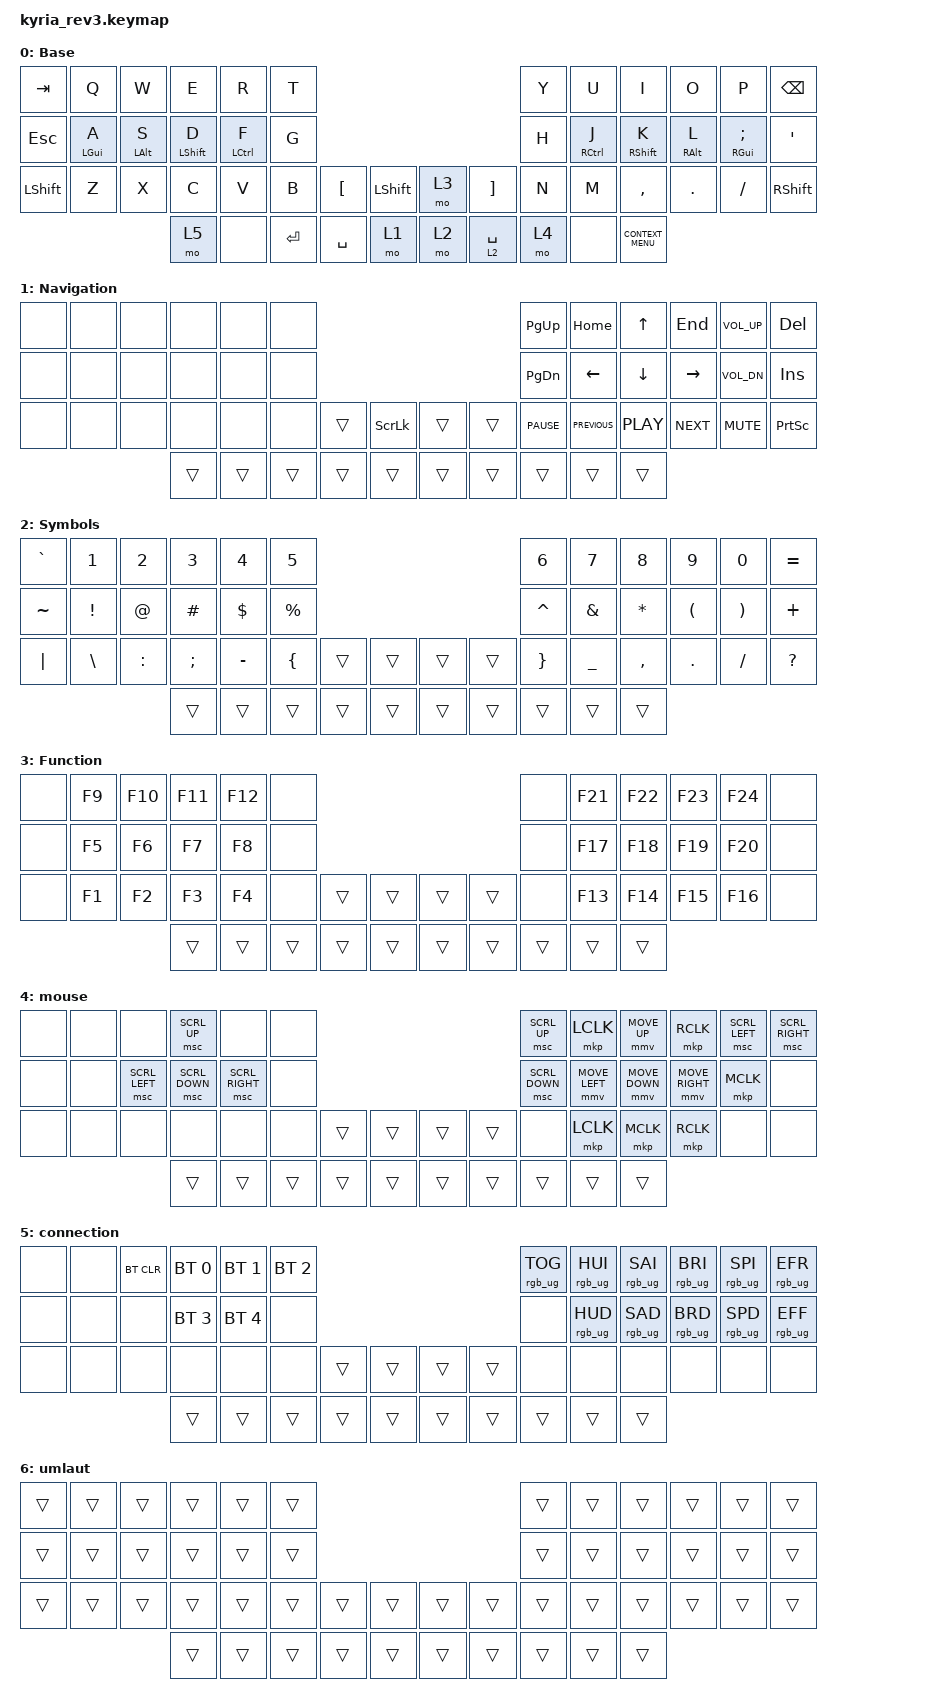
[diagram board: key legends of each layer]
/*
 * Copyright (c) 2023 The ZMK Contributors
 *
 * SPDX-License-Identifier: MIT
 */

#include <behaviors.dtsi>
#include <dt-bindings/zmk/bt.h>
#include <dt-bindings/zmk/keys.h>
#include <dt-bindings/zmk/pointing.h>
#include <dt-bindings/zmk/rgb.h>

/* Uncomment this block if using RGB
&led_strip {
    chain-length = <6>;
    // chain-length = <31>; // Uncomment if using both per-key and underglow LEDs
    // chain-length = <25>; // Uncomment if using only per-key LEDs.
};
 */

/ {
    keymap {
        compatible = "zmk,keymap";

        Base {
            // ---------------------------------------------------------------------------------------------------------------------------------
            // |  ESC  |  Q  |  W  |  E   |  R   |  T   |                                          |  Y   |  U    |  I    |  O   |   P   |   \  |
            // |  TAB  |  A  |  S  |  D   |  F   |  G   |                                          |  H   |  J    |  K    |  L   |   ;   |   '  |
            // | SHIFT |  Z  |  X  |  C   |  V   |  B   | L SHIFT | L SHIFT |  | LAYER 1 | L SHIFT |  N   |  M    |  ,    |  .   |   /   | CTRL |
            //                     | GUI  | DEL  | RET  |  SPACE  |   ESC   |  |   RET   |  SPACE  | TAB  | BSPC  | R-ALT |

            bindings = <
&kp TAB    &kp Q           &kp W           &kp E             &kp R               &kp T                                                           &kp Y  &kp U                &kp I               &kp O            &kp P                    &kp BACKSPACE
&kp ESC    &mt LEFT_GUI A  &mt LEFT_ALT S  &mt LEFT_SHIFT D  &mt LEFT_CONTROL F  &kp G                                                           &kp H  &mt RIGHT_CONTROL J  &mt RIGHT_SHIFT K   &mt RIGHT_ALT L  &mt RIGHT_GUI SEMICOLON  &kp SINGLE_QUOTE
&kp LSHFT  &kp Z           &kp X           &kp C             &kp V               &kp B    &kp LEFT_BRACKET  &kp LSHFT  &mo 3  &kp RIGHT_BRACKET  &kp N  &kp M                &kp COMMA           &kp DOT          &kp FSLH                 &kp RIGHT_SHIFT
                                           &mo 5             &none               &kp RET  &kp SPACE         &mo 1      &mo 2  &lt 2 SPACE        &mo 4  &none                &kp K_CONTEXT_MENU
            >;
        };

        Navigation {
            bindings = <
&none  &none  &none  &none   &none   &none                                           &kp PAGE_UP    &kp HOME        &kp UP_ARROW  &kp END     &kp C_VOLUME_UP  &kp DELETE
&none  &none  &none  &none   &none   &none                                           &kp PAGE_DOWN  &kp LEFT        &kp DOWN      &kp RIGHT   &kp C_VOL_DN     &kp INSERT
&none  &none  &none  &none   &none   &none   &trans  &kp SCROLLLOCK  &trans  &trans  &kp C_PAUSE    &kp C_PREVIOUS  &kp C_PLAY    &kp C_NEXT  &kp K_MUTE       &kp PRINTSCREEN
                     &trans  &trans  &trans  &trans  &trans          &trans  &trans  &trans         &trans          &trans
            >;
        };

        Symbols {
            bindings = <
&kp GRAVE  &kp NUMBER_1  &kp NUMBER_2  &kp NUMBER_3  &kp NUMBER_4  &kp N5                                          &kp NUMBER_6     &kp N7         &kp N8     &kp N9                &kp N0                 &kp EQUAL
&kp TILDE  &kp EXCL      &kp AT        &kp HASH      &kp DOLLAR    &kp PERCENT                                     &kp CARET        &kp AMPERSAND  &kp ASTRK  &kp LEFT_PARENTHESIS  &kp RIGHT_PARENTHESIS  &kp PLUS
&kp PIPE   &kp BSLH      &kp COLON     &kp SEMI      &kp MINUS     &kp LEFT_BRACE  &trans  &trans  &trans  &trans  &kp RIGHT_BRACE  &kp UNDER      &kp COMMA  &kp DOT               &kp SLASH              &kp QUESTION
                                       &trans        &trans        &trans          &trans  &trans  &trans  &trans  &trans           &trans         &trans
            >;
        };

        Function {
            bindings = <
&none  &kp F9  &kp F10  &kp F11  &kp F12  &none                                   &none   &kp F21  &kp F22  &kp F23  &kp F24  &none
&none  &kp F5  &kp F6   &kp F7   &kp F8   &none                                   &none   &kp F17  &kp F18  &kp F19  &kp F20  &none
&none  &kp F1  &kp F2   &kp F3   &kp F4   &none   &trans  &trans  &trans  &trans  &none   &kp F13  &kp F14  &kp F15  &kp F16  &none
                        &trans   &trans   &trans  &trans  &trans  &trans  &trans  &trans  &trans   &trans
            >;
        };

        mouse {
            bindings = <
&none  &none  &none           &msc SCRL_UP    &none            &none                                   &msc SCRL_UP    &mkp LCLK       &mmv MOVE_UP    &mkp RCLK        &msc SCRL_LEFT  &msc SCRL_RIGHT
&none  &none  &msc SCRL_LEFT  &msc SCRL_DOWN  &msc SCRL_RIGHT  &none                                   &msc SCRL_DOWN  &mmv MOVE_LEFT  &mmv MOVE_DOWN  &mmv MOVE_RIGHT  &mkp MCLK       &none
&none  &none  &none           &none           &none            &none   &trans  &trans  &trans  &trans  &none           &mkp LCLK       &mkp MCLK       &mkp RCLK        &none           &none
                              &trans          &trans           &trans  &trans  &trans  &trans  &trans  &trans          &trans          &trans
            >;
        };

        connection {
            // ---------------------------------------------------------------------------------------------------------------------------------
            // |       |      |BT_CLR|BTSEL0|BTSEL1|BTSEL2|                                         |      |      |      |      |      |      |
            // |       |      |      |BTSEL3|BTSEL4|      |                                         |      |      |      |      |      |      |
            // |       |      |      |      |      |      |      |      |      |      |      |      |      |      |      |      |      |      |
            //                       |      |      |      |      |      |      |      |      |      |      |      |      |

            bindings = <
&none  &none  &bt BT_CLR  &bt BT_SEL 0  &bt BT_SEL 1  &bt BT_SEL 2                                  &rgb_ug RGB_TOG  &rgb_ug RGB_HUI  &rgb_ug RGB_SAI  &rgb_ug RGB_BRI  &rgb_ug RGB_SPI  &rgb_ug RGB_EFR
&none  &none  &none       &bt BT_SEL 3  &bt BT_SEL 4  &none                                         &none            &rgb_ug RGB_HUD  &rgb_ug RGB_SAD  &rgb_ug RGB_BRD  &rgb_ug RGB_SPD  &rgb_ug RGB_EFF
&none  &none  &none       &none         &none         &none         &trans  &trans  &trans  &trans  &none            &none            &none            &none            &none            &none
                          &trans        &trans        &trans        &trans  &trans  &trans  &trans  &trans           &trans           &trans
            >;
        };

        umlaut {
            bindings = <
&trans  &trans  &trans  &trans  &trans  &trans                                  &trans  &trans  &trans  &trans  &trans  &trans
&trans  &trans  &trans  &trans  &trans  &trans                                  &trans  &trans  &trans  &trans  &trans  &trans
&trans  &trans  &trans  &trans  &trans  &trans  &trans  &trans  &trans  &trans  &trans  &trans  &trans  &trans  &trans  &trans
                        &trans  &trans  &trans  &trans  &trans  &trans  &trans  &trans  &trans  &trans
            >;
        };
    };
};
